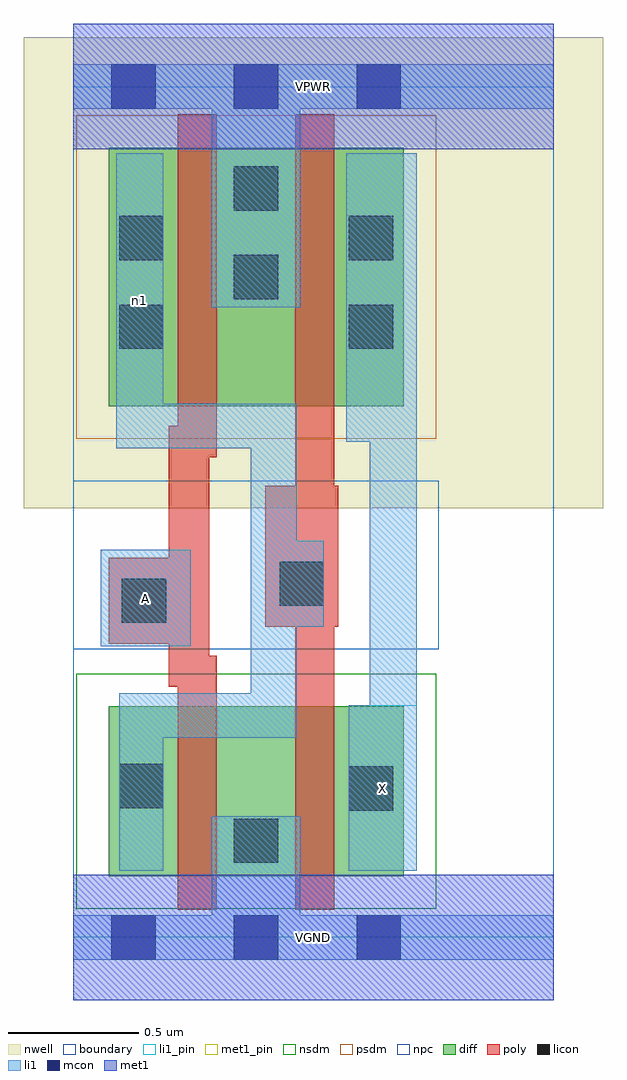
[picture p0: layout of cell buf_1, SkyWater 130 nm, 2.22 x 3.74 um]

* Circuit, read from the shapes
.subckt buf_1 A VGND VPWR X n1
XM1 VGND A n1 VSUBS sky130_fd_pr__nfet_01v8 w=0.65 l=0.15
XM2 X n1 VGND VSUBS sky130_fd_pr__nfet_01v8 w=0.65 l=0.15
XM3 VPWR A n1 n2 sky130_fd_pr__pfet_01v8 w=0.99 l=0.15
XM4 X n1 VPWR n2 sky130_fd_pr__pfet_01v8 w=0.99 l=0.15
.ends

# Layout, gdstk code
import gdstk
lib = gdstk.Library(unit=1e-6, precision=1e-09)
def R(c, l, rs):  # rectangles x0, y0, x1, y1
    for r in rs: c.add(gdstk.rectangle(r[:2], r[2:], *l))
def A(c, l, x, y, w, h, nx, ny, dx, dy):  # array of equal rectangles
    R(c, l, [(x+i*dx, y+j*dy, x+i*dx+w, y+j*dy+h) for i in range(nx) for j in range(ny)])
nwell = (64, 20)
diff = (65, 20)
poly = (66, 20)
licon = (66, 44)
li1_pin = (67, 16)
li1 = (67, 20)
mcon = (67, 44)
met1_pin = (68, 16)
met1 = (68, 20)
nsdm = (93, 44)
psdm = (94, 20)
npc = (95, 20)
boundary = (235, 4)

buf_1 = lib.new_cell('buf_1')
R(buf_1, nwell, [(-0.19,1.645,2.03,3.45), (0,1.645,1.84,3.45)])
R(buf_1, diff, [(0.135,0.235,1.265,0.885), (0.135,2.035,1.265,3.025)])
R(buf_1, poly, [(0.4,0.105,0.52,3.155), (0.4,0.105,0.55,1.08), (0.85,0.105,1,3.155), (0.365,0.96,0.52,1.96), (0.135,1.125,0.52,1.455), (0.735,1.19,1.015,1.73), (0.4,1.84,0.55,3.155)])
R(buf_1, licon, [(0.615,0.285,0.785,0.455), (1.055,0.485,1.225,0.655), (0.175,0.495,0.345,0.665), (0.185,1.205,0.355,1.375), (0.79,1.27,0.96,1.44), (0.175,2.255,0.345,2.425), (1.055,2.255,1.225,2.425), (0.615,2.445,0.785,2.615), (0.175,2.595,0.345,2.765), (1.055,2.595,1.225,2.765), (0.615,2.785,0.785,2.955)])
R(buf_1, li1_pin, [(1.055,0.255,1.315,0.89), (0.105,1.115,0.45,1.485)])
R(buf_1, li1, [(0,-0.085,1.84,0.085), (0.53,-0.085,0.87,0.465), (0.175,0.255,0.345,0.935), (1.055,0.255,1.315,0.89), (1.135,0.255,1.315,3.005), (0.175,0.765,0.855,0.935), (0.68,0.765,0.855,2.045), (0.105,1.115,0.45,1.485), (0.68,1.19,0.96,1.52), (0.165,1.875,0.345,3.005), (0.165,1.875,0.855,2.045), (1.045,1.9,1.315,3.005), (0.53,2.415,0.87,3.345), (0,3.175,1.84,3.345)])
A(buf_1, mcon, 0.145, -0.085, 0.17, 0.17, 3, 2, 0.47, 3.26)
R(buf_1, met1_pin, [(0,-0.24,1.84,0.24), (0,3.02,1.84,3.5)])
R(buf_1, met1, [(0,-0.24,1.84,0.24), (0,3.02,1.84,3.5)])
R(buf_1, nsdm, [(0.01,0.11,1.39,1.01)])
R(buf_1, psdm, [(0.01,1.91,1.39,3.15)])
R(buf_1, npc, [(0,1.105,1.4,1.75)])
R(buf_1, boundary, [(0,0,1.84,3.26)])
buf_1.add(gdstk.Label('A', (0.277,1.3), layer=67, texttype=5))
buf_1.add(gdstk.Label('X', (1.185,0.572), layer=67, texttype=5))
buf_1.add(gdstk.Label('n1', (0.255,2.44), layer=67, texttype=5))
buf_1.add(gdstk.Label('VPWR', (0.92,3.26), layer=68, texttype=5))
buf_1.add(gdstk.Label('VGND', (0.92,0), layer=68, texttype=5))
buf_1.add(gdstk.Label('A', (0.277,1.3), layer=67, texttype=16))
buf_1.add(gdstk.Label('X', (1.185,0.572), layer=67, texttype=16))
buf_1.add(gdstk.Label('VPWR', (0.92,3.26), layer=68, texttype=16))
buf_1.add(gdstk.Label('VGND', (0.92,0), layer=68, texttype=16))

lib.write_gds('buf_1.gds')
